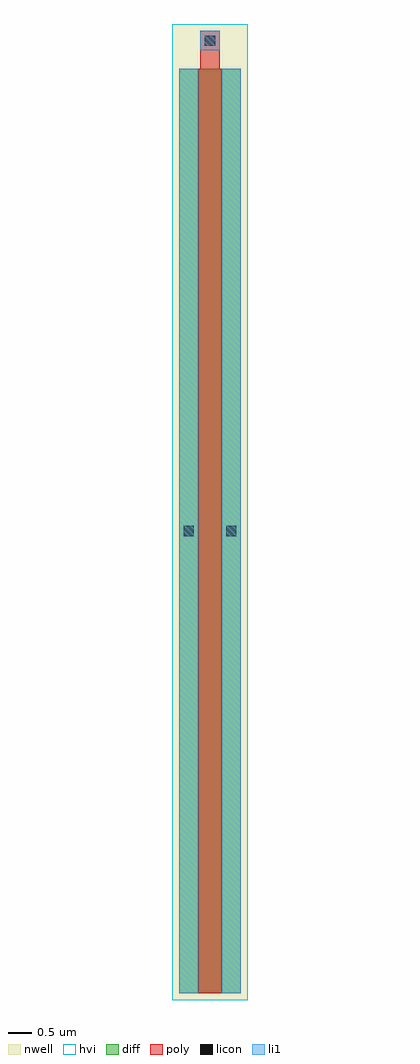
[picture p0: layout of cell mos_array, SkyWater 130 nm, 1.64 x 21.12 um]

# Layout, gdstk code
import gdstk
lib = gdstk.Library(unit=1e-6, precision=1e-09)
def R(c, l, rs):  # rectangles x0, y0, x1, y1
    for r in rs: c.add(gdstk.rectangle(r[:2], r[2:], *l))
nwell = (64, 20)
diff = (65, 20)
poly = (66, 20)
licon = (66, 44)
li1 = (67, 20)
hvi = (75, 20)

mos_array = lib.new_cell('mos_array')
R(mos_array, nwell, [(-0.15,-0.15,1.49,20.97)])
R(mos_array, diff, [(0,0,1.34,20)])
R(mos_array, poly, [(0.42,0,0.92,20), (0.46,20,0.88,20.82)])
R(mos_array, licon, [(0.1,9.89,0.32,10.11), (1.02,9.89,1.24,10.11), (0.56,20.5,0.78,20.72)])
R(mos_array, li1, [(0,0,0.42,20), (0.92,0,1.34,20), (0.46,20.4,0.88,20.82)])
R(mos_array, hvi, [(-0.15,-0.15,1.49,20.97)])

lib.write_gds('mos_array.gds')
